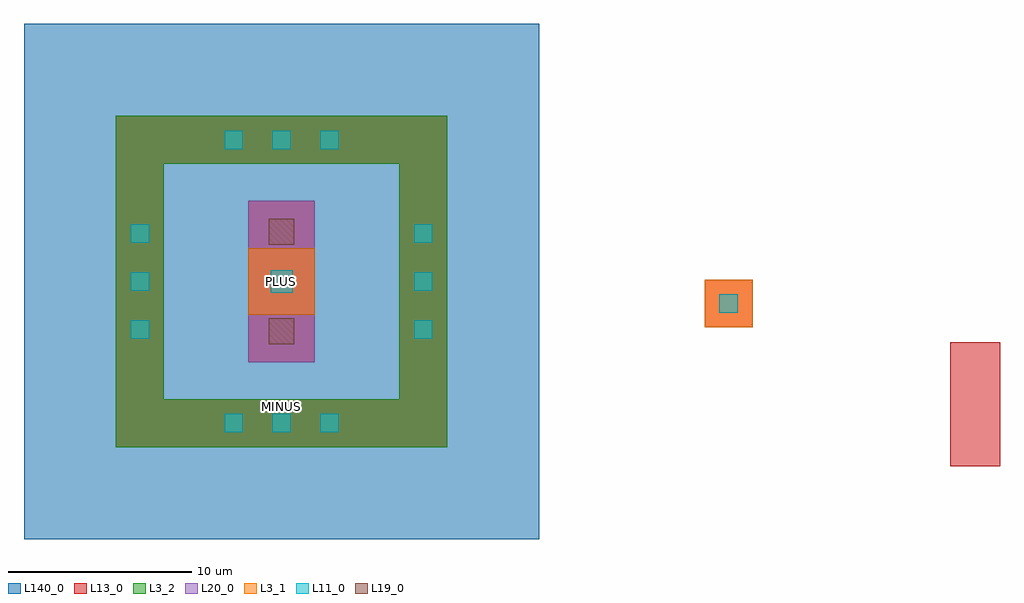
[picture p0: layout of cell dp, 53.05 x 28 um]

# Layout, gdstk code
import gdstk
lib = gdstk.Library(unit=1e-6, precision=5e-08)
def R(c, l, rs):  # rectangles x0, y0, x1, y1
    for r in rs: c.add(gdstk.rectangle(r[:2], r[2:], *l))
def P(c, l, *ps):  # polygons
    for p in ps: c.add(gdstk.Polygon(p, *l))
L3_1 = (3, 1)
L3_2 = (3, 2)
L11_0 = (11, 0)
L13_0 = (13, 0)
L19_0 = (19, 0)
L20_0 = (20, 0)
L140_0 = (140, 0)

diode_p = lib.new_cell('diode_p')
R(diode_p, L3_1, [(-1.8,-1.8,1.8,1.8)])
R(diode_p, L11_0, [(-0.6,-0.6,0.6,0.6)])
R(diode_p, L13_0, [(-1.8,-1.8,1.8,1.8)])

cont_n = lib.new_cell('cont_n')
R(cont_n, L3_2, [(-1.3,-1.3,1.3,1.3)])
R(cont_n, L11_0, [(-0.5,-0.5,0.5,0.5)])
R(cont_n, L13_0, [(-1.3,-1.3,1.3,1.3)])

via_1 = lib.new_cell('via_1')
R(via_1, L13_0, [(-1.7,-1.7,1.7,1.7)])
R(via_1, L19_0, [(-0.7,-0.7,0.7,0.7)])
R(via_1, L20_0, [(-1.7,-1.7,1.7,1.7)])

cont_p = lib.new_cell('cont_p')
R(cont_p, L3_1, [(-1.3,-1.3,1.3,1.3)])
R(cont_p, L11_0, [(-0.5,-0.5,0.5,0.5)])
R(cont_p, L13_0, [(-1.3,-1.3,1.3,1.3)])

c_dp = lib.new_cell('dp')
P(c_dp, L3_2, [(-9,-9),(-9,-3.9),(-6.4,-3.9),(-6.4,-6.4),(-3.9,-6.4),(-3.9,-9)],
  [(3.9,-9),(3.9,-6.4),(6.4,-6.4),(6.4,-3.9),(9,-3.9),(9,-9)],
  [(-9,3.9),(-9,9),(-3.9,9),(-3.9,6.4),(-6.4,6.4),(-6.4,3.9)],
  [(6.4,3.9),(6.4,6.4),(3.9,6.4),(3.9,9),(9,9),(9,3.9)])
R(c_dp, L13_0, [(36.35,-10.05,39.05,-3.3), (-1.8,-4.4,1.8,4.4)])
P(c_dp, L13_0, [(-9,-9),(-9,-3.9),(-6.4,-3.9),(-6.4,-6.4),(-3.9,-6.4),(-3.9,-9)],
  [(3.9,-9),(3.9,-6.4),(6.4,-6.4),(6.4,-3.9),(9,-3.9),(9,-9)],
  [(-9,3.9),(-9,9),(-3.9,9),(-3.9,6.4),(-6.4,6.4),(-6.4,3.9)],
  [(6.4,3.9),(6.4,6.4),(3.9,6.4),(3.9,9),(9,9),(9,3.9)])
R(c_dp, L20_0, [(-1.8,-4.4,1.8,4.4)])
R(c_dp, L140_0, [(-14,-14,14,14)])
c_dp.add(gdstk.Reference(diode_p, (0,0)))
r = gdstk.Reference(cont_n, (-7.7,-2.6)); r.repetition = gdstk.Repetition(1, 3, v1=(0,0), v2=(0,2.6)); c_dp.add(r)
r = gdstk.Reference(via_1, (0,-2.7)); r.repetition = gdstk.Repetition(1, 2, v1=(0,0), v2=(0,5.4)); c_dp.add(r)
r = gdstk.Reference(cont_n, (7.7,-2.6)); r.repetition = gdstk.Repetition(1, 3, v1=(0,0), v2=(0,2.6)); c_dp.add(r)
r = gdstk.Reference(cont_n, (-2.6,-7.7)); r.repetition = gdstk.Repetition(3, 1, v1=(2.6,0), v2=(0,0)); c_dp.add(r)
r = gdstk.Reference(cont_n, (-2.6,7.7)); r.repetition = gdstk.Repetition(3, 1, v1=(2.6,0), v2=(0,0)); c_dp.add(r)
c_dp.add(gdstk.Reference(cont_p, (24.3,-1.2)))
c_dp.add(gdstk.Label('PLUS', (0,0), layer=48, texttype=0))
c_dp.add(gdstk.Label('MINUS', (0,-6.8), layer=48, texttype=0))

lib.write_gds('dp.gds')
